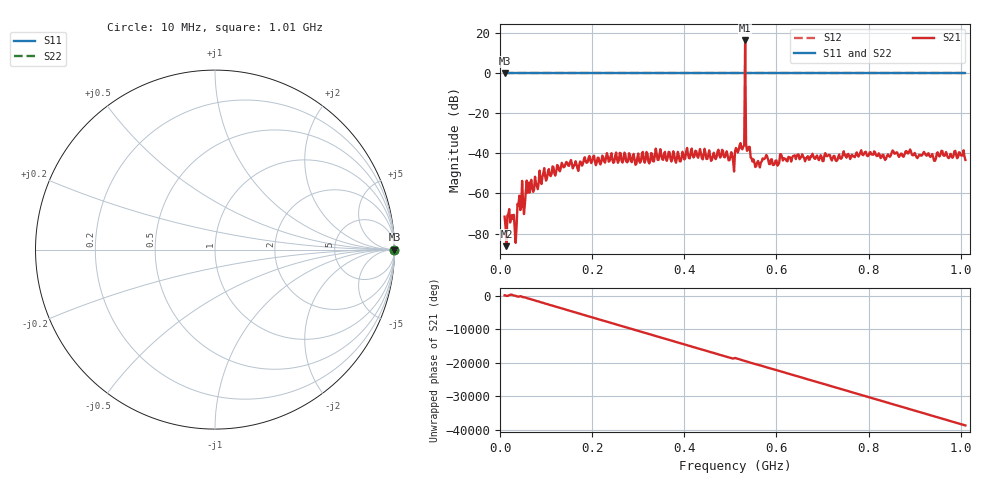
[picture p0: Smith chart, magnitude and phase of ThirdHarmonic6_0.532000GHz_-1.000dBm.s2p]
! 8/15/2025 4:35:03 PM
! C:\ANRITSUVNA\TEMP\TEMP.S2P
! CHANNEL.1
! TR.MEASUREMENT
! RAW.DATA
! RF.CORRECTION.OFF
! AVERAGING.OFF
! IF.BANDWIDTH: 5KHZ
! SWEEPTYPE:  FREQ.SWEEP(Linear)
! Reference Plane Port Info
! PORT:  PORT1  PORT2
! DISTANCE:  0  m  0  m
! TIME:  0  s  0  s
! PHASE.OFFSET:  0  deg.  0  deg.
! LOSS:  0  dB  0  dB
! REF.LOSS:  0  dB  0  dB
! REF.FREQ:  0  Hz  0  Hz
! Power Info
! POWER:  -20  dBm  -20  dBm
! EFF.POWER:  -20  dBm  -20  dBm
! SOURCE.ATTEN:  0  dB  0  dB
! TEST.ATTEN:  0  dB  0  dB
# GHZ S RI R 50.0
! FREQ.GHZ  S11RE  S11IM  S21RE  S21IM  S12RE  S12IM  S22RE  S22IM
!; PortSelection: Port_12
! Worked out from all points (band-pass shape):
!   501 points, 10 MHz to 1.01 GHz, reference 50 ohm
!   highest |S21| = 16.28 dB at 532 MHz (marker M1); lowest = -86.3 dB at 14 MHz (marker M2)
!   |S21| within 3 dB of the highest: 531.8854 MHz to 532.1161 MHz (230.7 kHz wide, 0.0434 % of centre)
!   lowest |S11| = 0.0 dB at 10 MHz (marker M3)
!   |S11| at or under -10 dB: nowhere
!   |S22| runs from 0.0 to 0.0 dB; largest |S21 - S12| = 6.7
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0.01  1 0  -0.000123 0.000234  1 0  1 0
0.014  1 0  1.39e-05 -4.65e-05  1 0  1 0
0.022  1 0  -0.000159 -0.000102  1 0  1 0
0.032  1 0  0.00013 2.39e-05  1 0  1 0
0.044  1 0  -0.000341 -0.000179  1 0  1 0
0.05  1 0  0.000299 -0.000549  1 0  1 0
0.062  1 0  -0.00136 -0.00126  1 0  1 0
0.138  1 0  0.00439 -0.00101  1 0  1 0
0.178  1 0  -0.00491 0.000378  1 0  1 0
0.344  1 0  0.00528 -0.00434  1 0  1 0
0.51  1 0  -0.0076 0.00797  1 0  1 0
0.526  1 0  -0.0126 -0.000876  1 0  1 0
0.528  1 0  -0.00471 0.0142  1 0  1 0
0.532  1 0  -0.9509 -6.447  1 0  1 0
0.536  1 0  -0.00615 0.00981  1 0  1 0
0.538  1 0  0.00879 0.00876  1 0  1 0
0.558  1 0  0.00544 -0.00214  1 0  1 0
0.576  1 0  0.00724 -0.00306  1 0  1 0
0.598  1 0  -0.00658 -0.000164  1 0  1 0
0.678  1 0  -0.00899 -0.00383  1 0  1 0
0.844  1 0  0.00858 0.000923  1 0  1 0
1.01  1 0  -0.00602 0.00327  1 0  1 0
